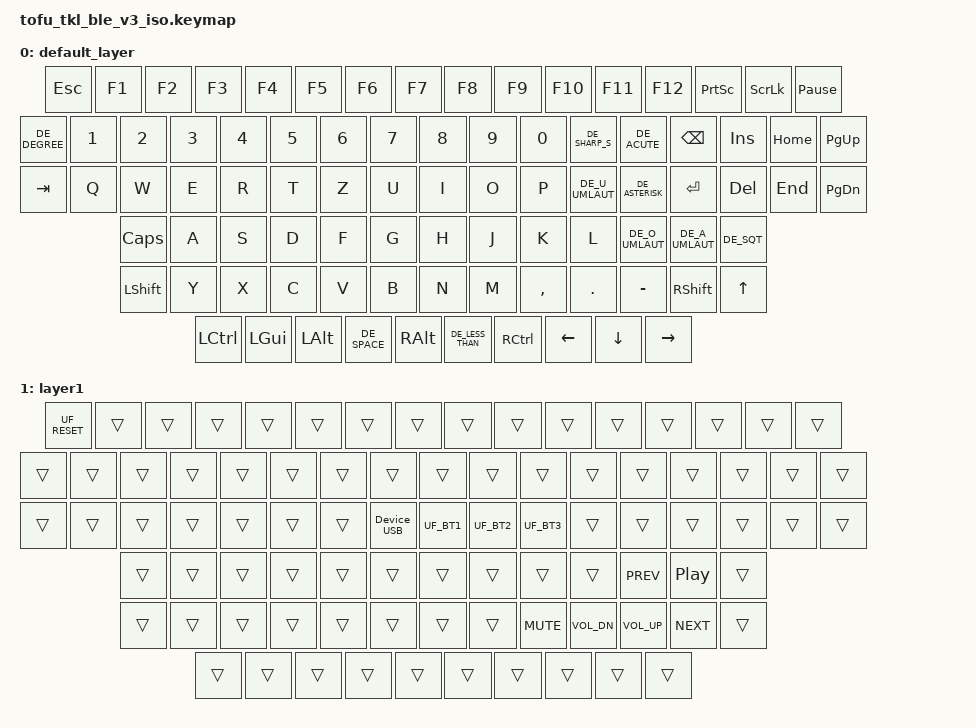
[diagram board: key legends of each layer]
#include "common.keymap"
#include "locale/keys_de.h"

#define UF_RESET bootloader_reset 0 0
#define UF_BT1 device_bt1 0 0
#define UF_BT2 device_bt2 0 1
#define UF_BT3 device_bt3 0 2

/ {
    keymap {
        compatible = "zmk,keymap";
        
        default_layer {

           bindings = <
                &kp ESC     &kp F1 &kp F2 &kp F3 &kp F4     &kp F5 &kp F6 &kp F7 &kp F8     &kp F9 &kp F10 &kp F11 &kp F12                   &kp PSCRN &kp SLCK &kp PAUSE_BREAK
                &kp DE_DEGREE &kp N1 &kp N2 &kp N3 &kp N4 &kp N5 &kp N6 &kp N7 &kp N8 &kp N9 &kp N0 &kp DE_SHARP_S &kp DE_ACUTE &kp BSPC     &kp INS &kp HOME &kp PG_UP
                &kp TAB &kp Q &kp W &kp E &kp R &kp T &kp Z &kp U &kp I &kp O &kp P &kp DE_U_UMLAUT &kp DE_ASTERISK &kp RET                  &kp DEL &kp END &kp PG_DN
                &kp CLCK &kp A &kp S &kp D &kp F &kp G &kp H &kp J &kp K &kp L &kp DE_O_UMLAUT &kp DE_A_UMLAUT &kp DE_SQT  
                &kp LSHIFT &kp Y &kp X &kp C &kp V &kp B &kp N &kp M &kp COMMA &kp DOT &kp MINUS &kp RSHIFT                                             &kp UP
                &kp LCTRL &kp LGUI &kp LALT &kp DE_SPACE &kp RALT &kp DE_LESS_THAN &kp RCTRL                                                 &kp LEFT &kp DOWN &kp RIGHT
            >;
        };

        layer1 {
            bindings = <
    &UF_RESET          &trans  &trans  &trans  &trans   &trans  &trans  &trans  &trans      &trans  &trans  &trans  &trans               &trans   &trans   &trans
    &trans  &trans  &trans  &trans  &trans  &trans  &trans  &trans  &trans  &trans  &trans  &trans  &trans  &trans                       &trans   &trans   &trans
    &trans   &trans &trans &trans  &trans  &trans  &trans  &Device_USB  &UF_BT1  &UF_BT2  &UF_BT3  &trans  &trans &trans                 &trans   &trans   &trans
    &trans    &trans  &trans  &trans  &trans  &trans  &trans  &trans  &trans   &trans   &kp C_PREV  &kp C_PP      &trans 
    &trans &trans  &trans    &trans    &trans   &trans  &trans  &trans  &kp C_MUTE  &kp C_VOL_DN  &kp C_VOL_UP  &kp C_NEXT                        &trans
    &trans  &trans   &trans                 &trans                                           &trans      &trans   &trans                 &trans  &trans  &trans
             >;
        };
        layer2 { status = "reserved"; };
        layer3 { status = "reserved"; };
        layer4 { status = "reserved"; };
        layer5 { status = "reserved"; };
        layer6 { status = "reserved"; };
        layer7 { status = "reserved"; };
    };
};
